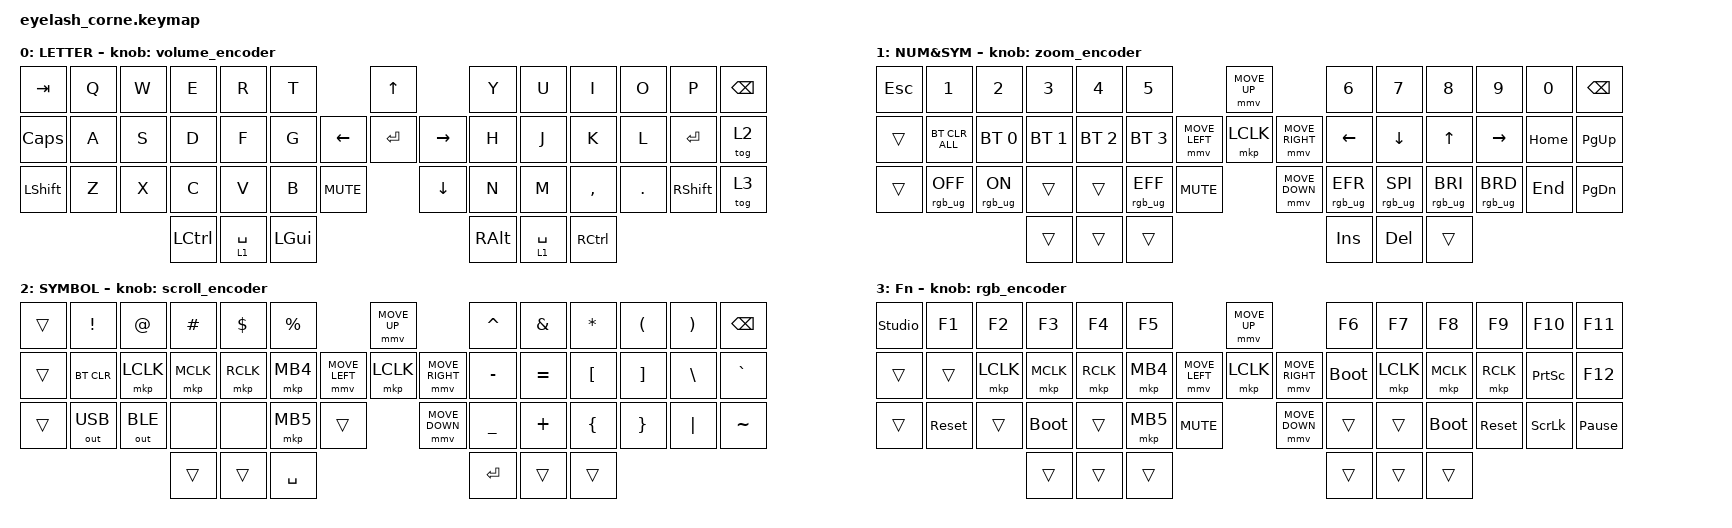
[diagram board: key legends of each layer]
#include <behaviors.dtsi>
#include <dt-bindings/zmk/bt.h>
#include <dt-bindings/zmk/keys.h>
#include <dt-bindings/zmk/mouse.h>
#include <dt-bindings/zmk/outputs.h>
#include <dt-bindings/zmk/rgb.h>

#include <input/processors.dtsi>

/*

   &mmv_input_listener {
       input-processors = <&zip_xy_scaler 2 1>;
   };

   &msc_input_listener {
       input-processors = <&zip_xy_scaler 2 1>;
   };

 */

#define ZMK_MOUSE_DEFAULT_MOVE_VAL 1200  // 600
#define ZMK_MOUSE_DEFAULT_SCRL_VAL 20    // 10

/ {
    behaviors {
        rgb_encoder: rgb_encoder {
            compatible = "zmk,behavior-sensor-rotate";
            #sensor-binding-cells = <0>;
            bindings = <&rgb_ug RGB_BRI>, <&rgb_ug RGB_BRD>;
            tap-ms = <30>;
        };

        scroll_encoder: scroll_encoder {
            compatible = "zmk,behavior-sensor-rotate";
            #sensor-binding-cells = <0>;
            bindings = <&msc SCRL_DOWN>, <&msc SCRL_UP>;
            tap-ms = <20>;

        };

        zoom_encoder: zoom_encoder {
            compatible = "zmk,behavior-sensor-rotate";
            #sensor-binding-cells = <0>;
            bindings = <&kp LG(MINUS)>, <&kp LG(PLUS)>;
            tap-ms = <30>;
        };

        volume_encoder: volume_encoder {
            compatible = "zmk,behavior-sensor-rotate";
            #sensor-binding-cells = <0>;
            bindings = <&kp C_VOL_UP>, <&kp C_VOL_DN>;
            tap-ms = <30>;
        };

    };

    
    keymap {
        compatible = "zmk,keymap";

        default_layer {
            display-name = "LETTER";
            bindings = <
&kp TAB    &kp Q  &kp W      &kp E     &kp R  &kp T                              &kp UP                &kp Y        &kp U  &kp I      &kp O    &kp P     &kp BSPC
&kp CAPS  &kp A  &kp S      &kp D     &kp F  &kp G                    &kp LEFT  &kp ENTER  &kp RIGHT  &kp H        &kp J  &kp K      &kp L    &kp ENTER  &tog 2
&kp LSHIFT  &kp Z  &kp X      &kp C     &kp V  &kp B       &kp C_MUTE              &kp DOWN              &kp N        &kp M  &kp COMMA  &kp DOT  &kp RSHIFT  &tog 3
                             &kp LCTRL  &lt 1 SPACE &kp LGUI                                     &kp RALT  &lt 1 SPACE  &kp RCTRL
            >;
            sensor-bindings = <&volume_encoder>;
        };

        lower_layer {
            display-name = "NUM&SYM";
            bindings = <
&kp ESC  &kp N1           &kp N2          &kp N3        &kp N4        &kp N5                                        &mmv MOVE_UP                     &kp N6           &kp N7           &kp N8           &kp N9           &kp N0    &kp BSPC
&trans  &bt BT_CLR_ALL   &bt BT_SEL 0    &bt BT_SEL 1  &bt BT_SEL 2  &bt BT_SEL 3                           &mmv MOVE_LEFT  &mkp LCLK       &mmv MOVE_RIGHT  &kp LEFT         &kp DOWN         &kp UP           &kp RIGHT        &kp HOME  &kp PG_UP
&trans  &rgb_ug RGB_OFF  &rgb_ug RGB_ON  &trans        &trans        &rgb_ug RGB_EFF &kp C_MUTE                    &mmv MOVE_DOWN                   &rgb_ug RGB_EFR  &rgb_ug RGB_SPI  &rgb_ug RGB_BRI  &rgb_ug RGB_BRD  &kp END   &kp PG_DN
                                         &trans        &trans        &trans                                                                         &kp INS          &kp DEL          &trans
            >;
            sensor-bindings = <&zoom_encoder>;
        };

        raise_layer {
            display-name = "SYMBOL";
            bindings = <
&trans  &kp EXCL      &kp AT        &kp HASH   &kp DLLR   &kp PRCNT                           &mmv MOVE_UP                     &kp CARET  &kp AMPS   &kp ASTRK  &kp LPAR  &kp RPAR  &kp BSPC
&trans  &bt BT_CLR    &mkp LCLK     &mkp MCLK  &mkp RCLK  &mkp MB4            &mmv MOVE_LEFT  &mkp LCLK       &mmv MOVE_RIGHT  &kp MINUS  &kp EQUAL  &kp LBKT   &kp RBKT  &kp BSLH  &kp GRAVE
&trans  &out OUT_USB  &out OUT_BLE  &none      &none      &mkp MB5  &trans                    &mmv MOVE_DOWN                   &kp UNDER  &kp PLUS   &kp LBRC   &kp RBRC  &kp PIPE  &kp TILDE
                                    &trans     &trans     &kp SPACE                                                            &kp RET    &trans     &trans
            >;
            sensor-bindings = <&scroll_encoder>;
        };

        layer_3 {
            display-name = "Fn";
            bindings = <
&studio_unlock   &kp F1      &kp F2      &kp F3       &kp F4     &kp F5                                  &mmv MOVE_UP                     &kp F6       &kp F7     &kp F8       &kp F9      &kp F10          &kp F11
&trans  &trans      &mkp LCLK   &mkp MCLK    &mkp RCLK  &mkp MB4                &mmv MOVE_LEFT  &mkp LCLK       &mmv MOVE_RIGHT  &bootloader  &mkp LCLK  &mkp MCLK    &mkp RCLK   &kp PRINTSCREEN  &kp F12
&trans  &sys_reset  &trans      &bootloader  &trans     &mkp MB5  &kp C_MUTE                    &mmv MOVE_DOWN                   &trans       &trans     &bootloader  &sys_reset  &kp SCROLLLOCK   &kp PAUSE_BREAK
                                &trans      &trans      &trans                                                                   &trans       &trans     &trans
            >;
            sensor-bindings = <&rgb_encoder>;
        };
    };
};
